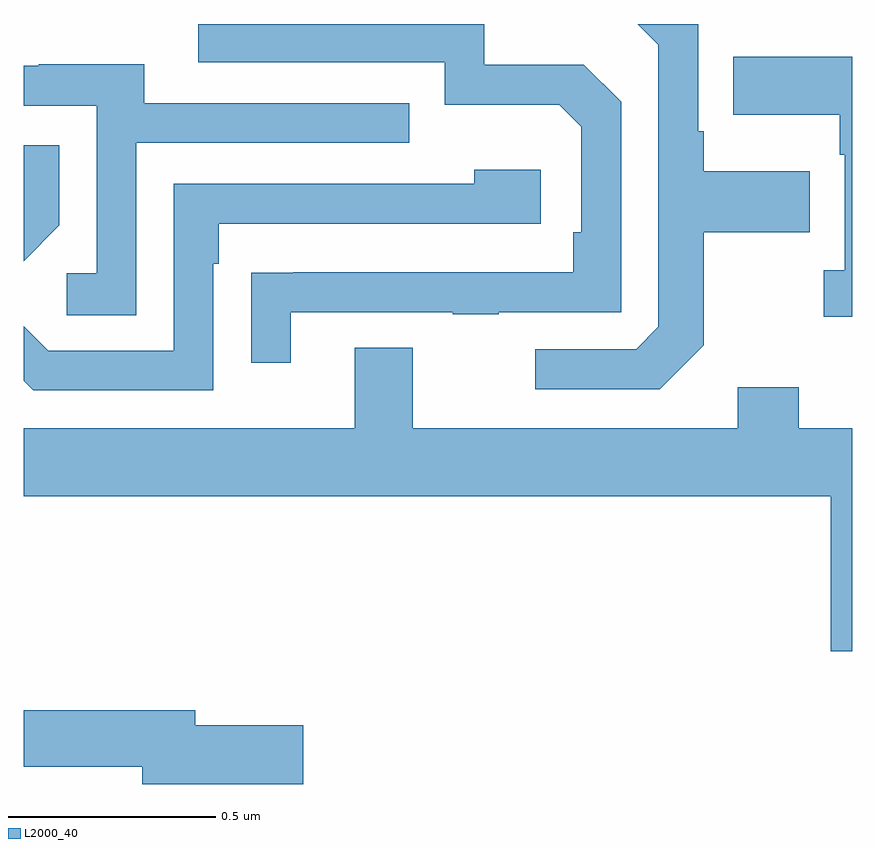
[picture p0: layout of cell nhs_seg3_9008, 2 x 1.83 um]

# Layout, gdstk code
import gdstk
lib = gdstk.Library(unit=1e-6, precision=1e-09)
def P(c, l, *ps):  # polygons
    for p in ps: c.add(gdstk.Polygon(p, *l))
L2000_40 = (2000, 40)

nhs_seg3_9008 = lib.new_cell('nhs_seg3_9008')
P(nhs_seg3_9008, L2000_40, [(224.641,690.625),(224.641,690.898),(224.897,690.898),(224.897,691.045),(224.641,691.045),(224.641,691.141),(224.628,691.141),(224.628,691.4),(224.482,691.4),(224.532,691.35),(224.532,690.669),(224.478,690.615),(224.235,690.615),(224.235,690.519),(224.535,690.519)],
  [(223.645,690.705),(224.035,690.705),(224.035,690.7),(224.147,690.7),(224.147,690.705),(224.442,690.705),(224.442,691.212),(224.352,691.302),(224.112,691.302),(224.112,691.4),(223.421,691.4),(223.421,691.308),(224.016,691.308),(224.016,691.205),(224.293,691.205),(224.346,691.152),(224.346,690.898),(224.326,690.898),(224.326,690.801),(223.651,690.801),(223.651,690.8),(223.549,690.8),(223.549,690.582),(223.645,690.582)],
  [(225,691.321),(224.713,691.321),(224.713,691.181),(224.97,691.181),(224.97,691.085),(224.982,691.085),(224.982,690.806),(224.931,690.806),(224.931,690.693),(225,690.693)],
  [(223.272,691.113),(223.931,691.113),(223.931,691.209),(223.291,691.209),(223.291,691.303),(223.037,691.303),(223.037,691.299),(223,691.299),(223,691.203),(223.176,691.203),(223.176,690.798),(223.104,690.798),(223.104,690.697),(223.272,690.697)],
  [(223.086,690.914),(223.086,691.108),(223,691.108),(223,690.828)],
  [(223.458,690.821),(223.471,690.821),(223.471,690.918),(224.248,690.918),(224.248,691.048),(224.087,691.048),(224.087,691.014),(223.362,691.014),(223.362,690.612),(223.059,690.612),(223,690.671),(223,690.539),(223.023,690.516),(223.458,690.516)],
  [(225,690.424),(224.871,690.424),(224.871,690.523),(224.723,690.523),(224.723,690.424),(223.939,690.424),(223.939,690.619),(223.799,690.619),(223.799,690.424),(223,690.424),(223,690.26),(224.948,690.26),(224.948,689.886),(225,689.886)],
  [(223.675,689.708),(223.414,689.708),(223.414,689.744),(223,689.744),(223,689.608),(223.286,689.608),(223.286,689.566),(223.675,689.566)])

lib.write_gds('nhs_seg3_9008.gds')
